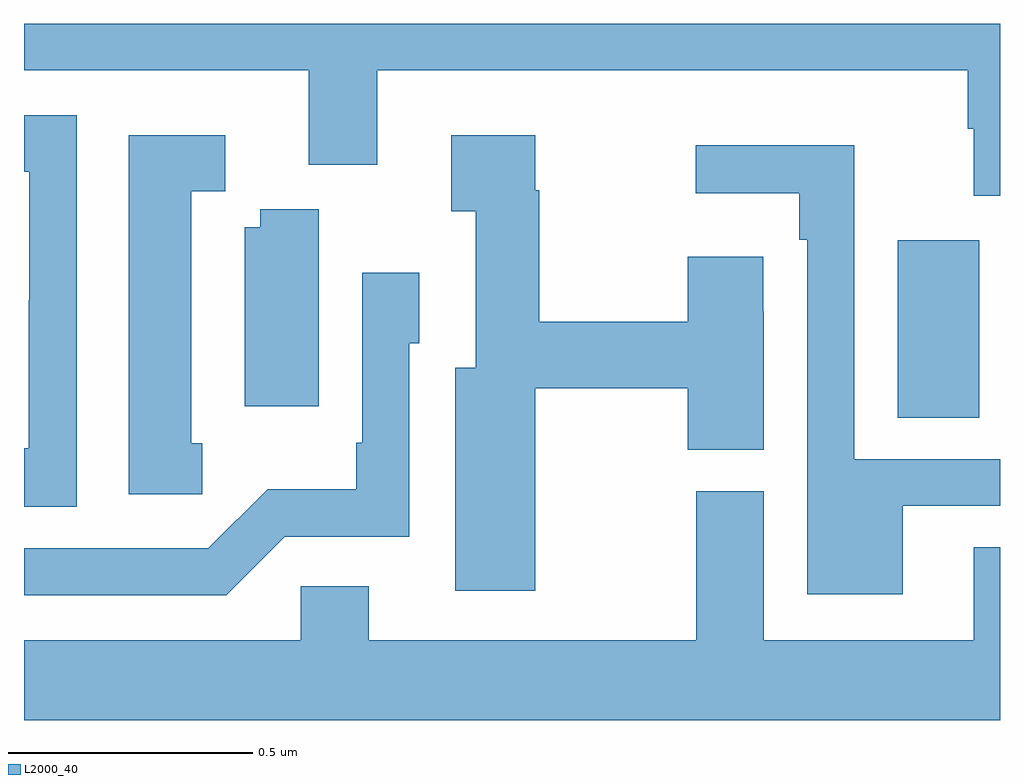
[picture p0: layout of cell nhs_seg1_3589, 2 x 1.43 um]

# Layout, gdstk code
import gdstk
lib = gdstk.Library(unit=1e-6, precision=1e-09)
def R(c, l, rs):  # rectangles x0, y0, x1, y1
    for r in rs: c.add(gdstk.rectangle(r[:2], r[2:], *l))
def P(c, l, *ps):  # polygons
    for p in ps: c.add(gdstk.Polygon(p, *l))
L2000_40 = (2000, 40)

nhs_seg1_3589 = lib.new_cell('nhs_seg1_3589')
R(nhs_seg1_3589, L2000_40, [(157.79,512.392,157.957,512.755)])
P(nhs_seg1_3589, L2000_40, [(158,513.199),(156,513.199),(156,513.104),(156.584,513.104),(156.584,512.91),(156.724,512.91),(156.724,513.104),(157.934,513.104),(157.934,512.984),(157.946,512.984),(157.946,512.847),(158,512.847)],
  [(156.108,513.012),(156,513.012),(156,512.896),(156.011,512.896),(156.011,512.633),(156.01,512.633),(156.01,512.329),(156,512.329),(156,512.209),(156.108,512.209)],
  [(156.365,512.34),(156.343,512.34),(156.343,512.856),(156.412,512.856),(156.412,512.971),(156.215,512.971),(156.215,512.235),(156.365,512.235)],
  [(157.048,512.452),(157.36,512.452),(157.36,512.326),(157.516,512.326),(157.516,512.609),(157.515,512.609),(157.515,512.722),(157.36,512.722),(157.36,512.588),(157.056,512.588),(157.056,512.858),(157.048,512.858),(157.048,512.971),(156.876,512.971),(156.876,512.815),(156.926,512.815),(156.926,512.494),(156.884,512.494),(156.884,512.037),(157.048,512.037)],
  [(157.801,512.211),(158,512.211),(158,512.307),(157.701,512.307),(157.701,512.95),(157.377,512.95),(157.377,512.852),(157.589,512.852),(157.589,512.756),(157.605,512.756),(157.605,512.03),(157.801,512.03)],
  [(156.604,512.819),(156.484,512.819),(156.484,512.782),(156.452,512.782),(156.452,512.415),(156.604,512.415)],
  [(156.534,512.148),(156.789,512.148),(156.789,512.544),(156.81,512.544),(156.81,512.689),(156.693,512.689),(156.693,512.341),(156.681,512.341),(156.681,512.245),(156.499,512.245),(156.378,512.124),(156,512.124),(156,512.028),(156.414,512.028)],
  [(158,512.126),(157.946,512.126),(157.946,511.936),(157.516,511.936),(157.516,512.241),(157.378,512.241),(157.378,511.936),(156.706,511.936),(156.706,512.046),(156.567,512.046),(156.567,511.936),(156,511.936),(156,511.772),(158,511.772)])

lib.write_gds('nhs_seg1_3589.gds')
